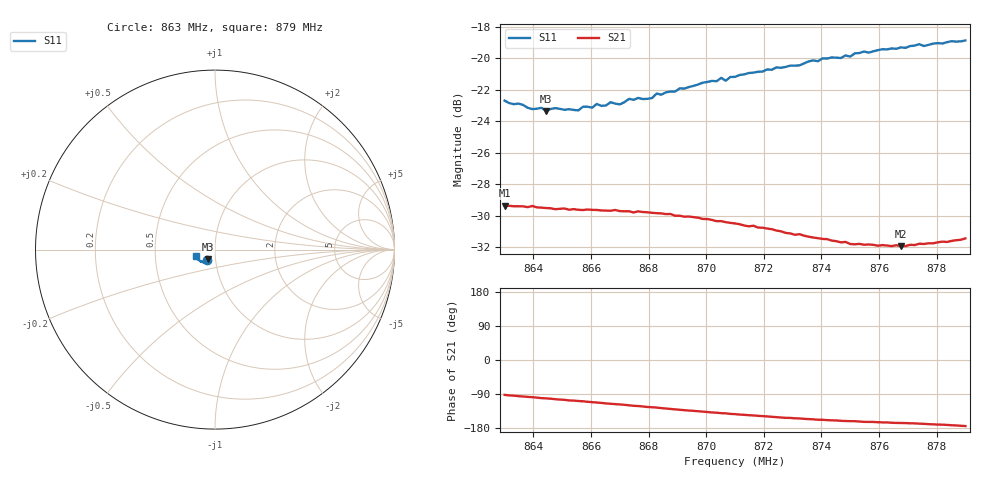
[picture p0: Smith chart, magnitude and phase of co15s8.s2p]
# HZ S RI R 50
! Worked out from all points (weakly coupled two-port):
!   101 points, 863 MHz to 879 MHz, reference 50 ohm
!   highest |S21| = -29.34 dB at 863 MHz (marker M1); lowest = -31.9 dB at 876.76 MHz (marker M2)
!   lowest |S11| = -23.3 dB at 864.44 MHz (marker M3), VSWR 1.15, Z = 45.9 - j5.06 ohm
!   |S11| at or under -10 dB: start of sweep to end of sweep
!   S12 and S22 are empty: the file has one direction only
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8.63e8  -0.0452 -0.0577  -0.00122 -0.0341  0 0  0 0
8.6444e8  -0.0402 -0.0549  -0.00654 -0.0328  0 0  0 0
8.6476e8  -0.04 -0.0568  -0.00771 -0.0323  0 0  0 0
8.6556e8  -0.0372 -0.0573  -0.0103 -0.0314  0 0  0 0
8.6572e8  -0.0377 -0.0592  -0.0107 -0.0312  0 0  0 0
8.6604e8  -0.0368 -0.0591  -0.012 -0.0308  0 0  0 0
8.662e8  -0.0379 -0.0607  -0.0125 -0.0306  0 0  0 0
8.6652e8  -0.0366 -0.0606  -0.0137 -0.0299  0 0  0 0
8.6668e8  -0.0373 -0.0622  -0.0142 -0.0296  0 0  0 0
8.67e8  -0.037 -0.061  -0.015 -0.0291  0 0  0 0
8.6732e8  -0.0384 -0.0636  -0.0162 -0.0284  0 0  0 0
8.6796e8  -0.0384 -0.0636  -0.0182 -0.0269  0 0  0 0
8.6828e8  -0.0398 -0.0662  -0.0188 -0.0262  0 0  0 0
8.6844e8  -0.0399 -0.0654  -0.0193 -0.0258  0 0  0 0
8.7052e8  -0.0492 -0.0713  -0.0234 -0.0194  0 0  0 0
8.71e8  -0.0514 -0.0705  -0.0239 -0.0181  0 0  0 0
8.7372e8  -0.069 -0.0701  -0.0248 -0.0107  0 0  0 0
8.75e8  -0.078 -0.0644  -0.0244 -0.00821  0 0  0 0
8.7548e8  -0.0831 -0.0642  -0.0245 -0.00738  0 0  0 0
8.7644e8  -0.0902 -0.0582  -0.0246 -0.0063  0 0  0 0
8.7676e8  -0.0927 -0.0558  -0.0246 -0.00601  0 0  0 0
8.79e8  -0.1075 -0.0373  -0.0267 -0.00267  0 0  0 0
